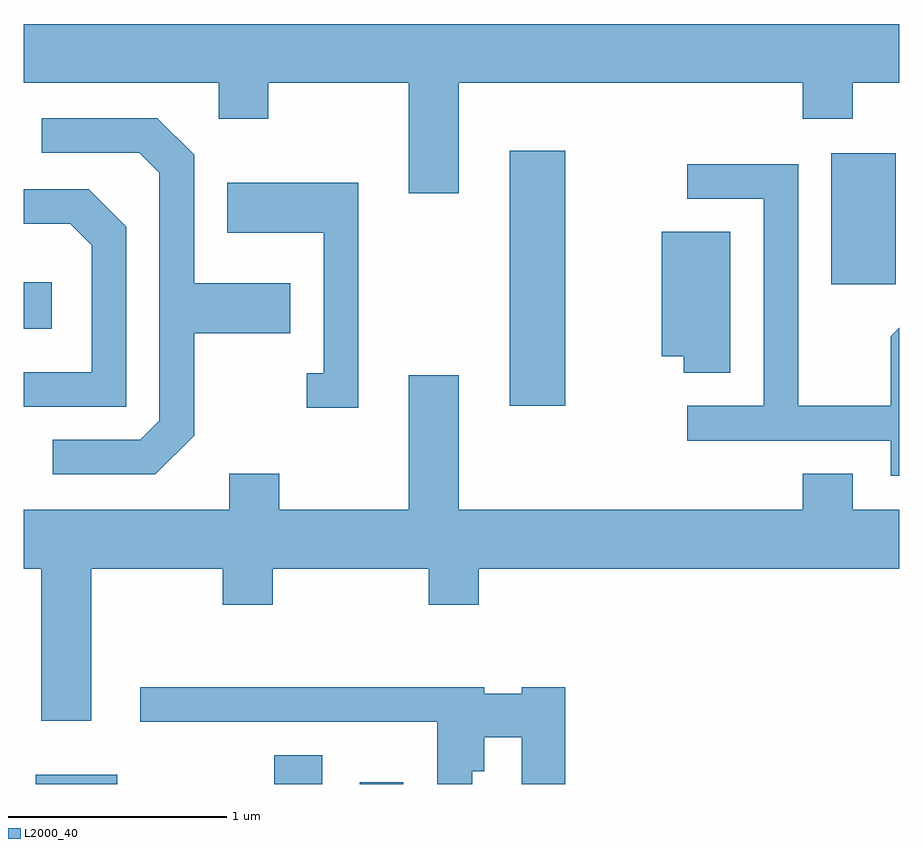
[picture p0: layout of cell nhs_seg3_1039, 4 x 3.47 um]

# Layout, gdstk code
import gdstk
lib = gdstk.Library(unit=1e-6, precision=1e-09)
def R(c, l, rs):  # rectangles x0, y0, x1, y1
    for r in rs: c.add(gdstk.rectangle(r[:2], r[2:], *l))
def P(c, l, *ps):  # polygons
    for p in ps: c.add(gdstk.Polygon(p, *l))
L2000_40 = (2000, 40)

nhs_seg3_1039 = lib.new_cell('nhs_seg3_1039')
R(nhs_seg3_1039, L2000_40, [(215.666,1153.892,216.039,1153.934), (216.756,1153.892,216.974,1154.024), (217.146,1153.892,217.344,1153.899), (217.831,1155.621,218.084,1156.784), (215.611,1155.971,215.739,1156.184), (219.301,1156.176,219.594,1156.774)])
P(nhs_seg3_1039, L2000_40, [(217.599,1157.096),(219.171,1157.096),(219.171,1156.931),(219.399,1156.931),(219.399,1157.096),(219.611,1157.096),(219.611,1157.364),(215.611,1157.364),(215.611,1157.096),(216.501,1157.096),(216.501,1156.931),(216.729,1156.931),(216.729,1157.096),(217.371,1157.096),(217.371,1156.591),(217.599,1156.591)],
  [(216.389,1155.484),(216.389,1155.951),(216.829,1155.951),(216.829,1156.179),(216.389,1156.179),(216.389,1156.767),(216.222,1156.934),(215.693,1156.934),(215.693,1156.776),(216.139,1156.776),(216.231,1156.684),(216.231,1155.552),(216.144,1155.464),(215.743,1155.464),(215.743,1155.306),(216.212,1155.306)],
  [(219.611,1155.977),(219.571,1155.937),(219.571,1155.619),(219.149,1155.619),(219.149,1156.724),(218.643,1156.724),(218.643,1156.566),(218.991,1156.566),(218.991,1155.619),(218.643,1155.619),(218.643,1155.461),(219.571,1155.461),(219.571,1155.301),(219.611,1155.301)],
  [(217.139,1156.639),(216.541,1156.639),(216.541,1156.411),(216.981,1156.411),(216.981,1155.769),(216.903,1155.769),(216.903,1155.611),(217.139,1155.611)],
  [(216.079,1156.437),(215.907,1156.609),(215.611,1156.609),(215.611,1156.451),(215.824,1156.451),(215.921,1156.354),(215.921,1155.774),(215.611,1155.774),(215.611,1155.616),(216.079,1155.616)],
  [(218.839,1156.414),(218.526,1156.414),(218.526,1155.846),(218.626,1155.846),(218.626,1155.771),(218.839,1155.771)],
  [(215.919,1154.876),(216.521,1154.876),(216.521,1154.711),(216.749,1154.711),(216.749,1154.876),(217.461,1154.876),(217.461,1154.711),(217.689,1154.711),(217.689,1154.876),(219.611,1154.876),(219.611,1155.144),(219.399,1155.144),(219.399,1155.309),(219.171,1155.309),(219.171,1155.144),(217.599,1155.144),(217.599,1155.759),(217.371,1155.759),(217.371,1155.144),(216.779,1155.144),(216.779,1155.309),(216.551,1155.309),(216.551,1155.144),(215.611,1155.144),(215.611,1154.876),(215.691,1154.876),(215.691,1154.181),(215.919,1154.181)],
  [(217.659,1153.951),(217.714,1153.951),(217.714,1154.106),(217.886,1154.106),(217.886,1153.892),(218.084,1153.892),(218.084,1154.334),(217.886,1154.334),(217.886,1154.304),(217.714,1154.304),(217.714,1154.334),(216.143,1154.334),(216.143,1154.176),(217.501,1154.176),(217.501,1153.892),(217.659,1153.892)])

lib.write_gds('nhs_seg3_1039.gds')
